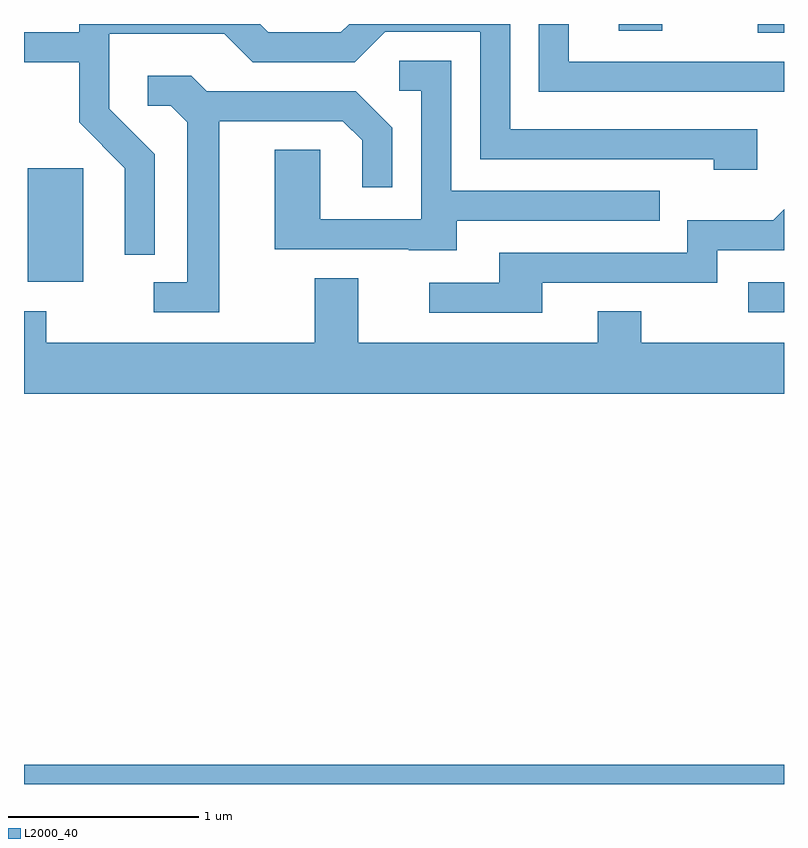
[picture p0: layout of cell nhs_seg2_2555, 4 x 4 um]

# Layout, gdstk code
import gdstk
lib = gdstk.Library(unit=1e-6, precision=1e-09)
def R(c, l, rs):  # rectangles x0, y0, x1, y1
    for r in rs: c.add(gdstk.rectangle(r[:2], r[2:], *l))
def P(c, l, *ps):  # polygons
    for p in ps: c.add(gdstk.Polygon(p, *l))
L2000_40 = (2000, 40)

nhs_seg2_2555 = lib.new_cell('nhs_seg2_2555')
R(nhs_seg2_2555, L2000_40, [(259.611,1061.802,263.611,1061.904), (263.423,1064.286,263.611,1064.444), (259.631,1064.446,259.924,1065.044), (263.473,1065.756,263.611,1065.802), (262.741,1065.766,262.969,1065.802)])
P(nhs_seg2_2555, L2000_40, [(260.299,1065.117),(260.059,1065.357),(260.059,1065.751),(260.664,1065.751),(260.814,1065.601),(261.352,1065.601),(261.512,1065.761),(262.011,1065.761),(262.011,1065.091),(263.241,1065.091),(263.241,1065.036),(263.469,1065.036),(263.469,1065.249),(262.169,1065.249),(262.169,1065.802),(261.322,1065.802),(261.279,1065.759),(260.897,1065.759),(260.854,1065.802),(259.901,1065.802),(259.901,1065.759),(259.611,1065.759),(259.611,1065.601),(259.901,1065.601),(259.901,1065.284),(260.141,1065.044),(260.141,1064.588),(260.299,1064.588)],
  [(263.611,1065.604),(262.479,1065.604),(262.479,1065.802),(262.321,1065.802),(262.321,1065.446),(263.611,1065.446)],
  [(261.889,1064.766),(262.958,1064.766),(262.958,1064.924),(261.859,1064.924),(261.859,1065.609),(261.587,1065.609),(261.587,1065.451),(261.701,1065.451),(261.701,1064.774),(261.169,1064.774),(261.169,1065.139),(260.931,1065.139),(260.931,1064.616),(261.635,1064.616),(261.635,1064.611),(261.889,1064.611)],
  [(260.639,1065.291),(261.289,1065.291),(261.391,1065.189),(261.391,1064.943),(261.549,1064.943),(261.549,1065.257),(261.356,1065.449),(260.572,1065.449),(260.492,1065.529),(260.263,1065.529),(260.263,1065.371),(260.384,1065.371),(260.471,1065.284),(260.471,1064.444),(260.293,1064.444),(260.293,1064.286),(260.639,1064.286)],
  [(262.339,1064.441),(263.259,1064.441),(263.259,1064.611),(263.611,1064.611),(263.611,1064.827),(263.554,1064.769),(263.101,1064.769),(263.101,1064.599),(262.111,1064.599),(262.111,1064.439),(261.743,1064.439),(261.743,1064.281),(262.339,1064.281)],
  [(263.611,1064.124),(262.859,1064.124),(262.859,1064.289),(262.631,1064.289),(262.631,1064.124),(261.369,1064.124),(261.369,1064.464),(261.141,1064.464),(261.141,1064.124),(259.729,1064.124),(259.729,1064.289),(259.611,1064.289),(259.611,1063.856),(263.611,1063.856)])

lib.write_gds('nhs_seg2_2555.gds')
